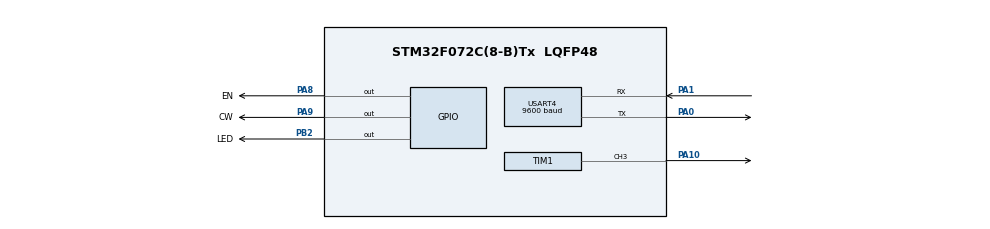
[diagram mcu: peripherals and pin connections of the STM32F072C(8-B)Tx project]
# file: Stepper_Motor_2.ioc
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Mcu.Family=STM32F0
PA9.GPIO_Label=CW
USART4.Parity=PARITY_EVEN
ProjectManager.StackSize=0x400
PA8.GPIO_Label=EN
TIM1.Prescaler=80-1
ProjectManager.TargetToolchain=STM32CubeIDE
NVIC.USART3_4_IRQn=true\:0\:0\:false\:false\:true\:true\:true
PA9.Signal=GPIO_Output
PA1.Signal=USART4_RX
PF0-OSC_IN.Mode=HSE-External-Oscillator
USART4.VirtualMode-Asynchronous=VM_ASYNC
PB2.Signal=GPIO_Output
board=custom
USART4.BaudRate=9600
PA1.Mode=Asynchronous
PA0.Mode=Asynchronous
PA8.Signal=GPIO_Output
Mcu.Name=STM32F072C(8-B)Tx
PA0.Signal=USART4_TX
Mcu.Package=LQFP48
PA10.Signal=S_TIM1_CH3
PB2.GPIO_Label=LED
ProjectManager.HeapSize=0x200
SH.S_TIM1_CH3.0=TIM1_CH3,PWM Generation3 CH3
TIM1.Period=1000-1
USART4.WordLength=WORDLENGTH_9B
PF0-OSC_IN.Signal=RCC_OSC_IN
TIM1.Channel-PWM\ Generation3\ CH3=TIM_CHANNEL_3
PF1-OSC_OUT.Mode=HSE-External-Oscillator
NVIC.TIM1_BRK_UP_TRG_COM_IRQn=true\:0\:0\:false\:false\:true\:true\:true
PF1-OSC_OUT.Signal=RCC_OSC_OUT

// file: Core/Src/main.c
/* USER CODE BEGIN Header */
/**
  ******************************************************************************
  * @file           : main.c
  * @brief          : Main program body
  ******************************************************************************
  * @attention
  *
  * <h2><center>&copy; Copyright (c) 2021 STMicroelectronics.
  * All rights reserved.</center></h2>
  *
  * This software component is licensed by ST under BSD 3-Clause license,
  * the "License"; You may not use this file except in compliance with the
  * License. You may obtain a copy of the License at:
  *                        opensource.org/licenses/BSD-3-Clause
  *
  ******************************************************************************
  */
/* USER CODE END Header */
#include "main.h"

TIM_HandleTypeDef htim1;

UART_HandleTypeDef huart4;

/* USER CODE BEGIN PV */
int pwm = 0;/*Переменная ШИМ, подаваемая в таймер*/
int i = 0;/*Переменная-счётчик*/
uint8_t RxData[2];/*Массив данных (2 элемент), которые будем считывать с ПК*/
/* USER CODE END PV */

void SystemClock_Config(void);
static void MX_GPIO_Init(void);
static void MX_TIM1_Init(void);
static void MX_USART4_UART_Init(void);

/* USER CODE BEGIN 0 */
void Stepper_motor(uint8_t Direction, uint8_t Steps)/*Функция управления шаговым двигателем. В функции 2 аргумента:
1 -- определяет направление вращения, 2 -- определяет количество шагов.*/
{
	HAL_GPIO_WritePin(GPIOA, EN_Pin, GPIO_PIN_RESET);/*Разрешаем работу двигателя*/
	switch (Direction) {/*Если переменная, определяющая направление вращения,*/
	case 1:/*равна 1, то*/
		HAL_GPIO_WritePin(GPIOA, CW_Pin, GPIO_PIN_SET);/*включаем пин, отвечающий за направление вращения.*/
		break;
	default:/*Если любое другое значение, то*/
		HAL_GPIO_WritePin(GPIOA, CW_Pin, GPIO_PIN_RESET);/*отключаем пин, отвечающий за направление вращения.*/
		break;
	}
	if (i < Steps)/*Если значение счётчика i меньше переменной, определяющей количество шагов,*/
	{
		++i;/*то прибавим к i единицу*/
		pwm = 500;/*и приравняем переменную pwm к 500.*/
	} else/*Иначе, если i будет равна переменной, определяющей количество шагов,*/
	{
		i = 0;/*приравниваем i к нулю,*/
		RxData[1]=0;/*Обнулим элемент массива, отвечающего за количество шагов,*/
		pwm = 0;/*приравниваем pwm к нулю и*/
		HAL_GPIO_WritePin(GPIOA, EN_Pin, GPIO_PIN_SET);/*запрещаем работу двигателя*/
	}
}

void HAL_TIM_PeriodElapsedCallback(TIM_HandleTypeDef *htim)/*CallBack, вызванный при окончании периода ШИМ*/
{
	if (htim->Instance == TIM1)/*Проверяем от какого таймера пришёл CallBack*/
	{
	  	Stepper_motor(RxData[0], RxData[1]);/*Передадим в функцию управления шаговым двигателем*/
		htim1.Instance->CCR3 = pwm;/*Запишем значение pwm в регистр CCR3 выбранного таймера*/
	}
}
/* USER CODE END 0 */

int main(void)
{

  /* MCU Configuration--------------------------------------------------------*/

  /* Reset of all peripherals, Initializes the Flash interface and the Systick. */
  HAL_Init();

  /* Configure the system clock */
  SystemClock_Config();

  /* Initialize all configured peripherals */
  MX_GPIO_Init();
  MX_TIM1_Init();
  MX_USART4_UART_Init();
  /* USER CODE BEGIN 2 */
  HAL_TIM_PWM_Start(&htim1, TIM_CHANNEL_3);/*Даём разрешение на работу ШИМ нашего таймера*/
  HAL_TIM_Base_Start_IT(&htim1);/*Даём разрешение на организацию прерываний*/
  /* USER CODE END 2 */

  /* Infinite loop */
  /* USER CODE BEGIN WHILE */
  while (1)
  {

	  if ((HAL_UART_Receive_IT (&huart4, RxData, sizeof(RxData))==HAL_OK))/*Если
	  	  	данные с компьютера на контроллер были успешно переданы, то*/
	  	  {
	  		  HAL_GPIO_TogglePin(LED_GPIO_Port, LED_Pin);/*Поменяем состояние светодиода*/
	  	  }
	  	  HAL_Delay(10);/*Организация временной задержки в 10 миллисекунд.*/

    /* USER CODE END WHILE */

  }
}

void SystemClock_Config(void)
{
  RCC_OscInitTypeDef RCC_OscInitStruct = {0};
  RCC_ClkInitTypeDef RCC_ClkInitStruct = {0};

  /** Initializes the RCC Oscillators according to the specified parameters
  * in the RCC_OscInitTypeDef structure.
  */
  RCC_OscInitStruct.OscillatorType = RCC_OSCILLATORTYPE_HSI;
  RCC_OscInitStruct.HSIState = RCC_HSI_ON;
  RCC_OscInitStruct.HSICalibrationValue = RCC_HSICALIBRATION_DEFAULT;
  RCC_OscInitStruct.PLL.PLLState = RCC_PLL_NONE;
  if (HAL_RCC_OscConfig(&RCC_OscInitStruct) != HAL_OK)
  {
    Error_Handler();
  }
  /** Initializes the CPU, AHB and APB buses clocks
  */
  RCC_ClkInitStruct.ClockType = RCC_CLOCKTYPE_HCLK|RCC_CLOCKTYPE_SYSCLK
                              |RCC_CLOCKTYPE_PCLK1;
  RCC_ClkInitStruct.SYSCLKSource = RCC_SYSCLKSOURCE_HSI;
  RCC_ClkInitStruct.AHBCLKDivider = RCC_SYSCLK_DIV1;
  RCC_ClkInitStruct.APB1CLKDivider = RCC_HCLK_DIV1;

  if (HAL_RCC_ClockConfig(&RCC_ClkInitStruct, FLASH_LATENCY_0) != HAL_OK)
  {
    Error_Handler();
  }
}

static void MX_TIM1_Init(void)
{

  TIM_MasterConfigTypeDef sMasterConfig = {0};
  TIM_OC_InitTypeDef sConfigOC = {0};
  TIM_BreakDeadTimeConfigTypeDef sBreakDeadTimeConfig = {0};

  htim1.Instance = TIM1;
  htim1.Init.Prescaler = 80-1;
  htim1.Init.CounterMode = TIM_COUNTERMODE_UP;
  htim1.Init.Period = 1000-1;
  htim1.Init.ClockDivision = TIM_CLOCKDIVISION_DIV1;
  htim1.Init.RepetitionCounter = 0;
  htim1.Init.AutoReloadPreload = TIM_AUTORELOAD_PRELOAD_DISABLE;
  if (HAL_TIM_PWM_Init(&htim1) != HAL_OK)
  {
    Error_Handler();
  }
  sMasterConfig.MasterOutputTrigger = TIM_TRGO_RESET;
  sMasterConfig.MasterSlaveMode = TIM_MASTERSLAVEMODE_DISABLE;
  if (HAL_TIMEx_MasterConfigSynchronization(&htim1, &sMasterConfig) != HAL_OK)
  {
    Error_Handler();
  }
  sConfigOC.OCMode = TIM_OCMODE_PWM1;
  sConfigOC.Pulse = 0;
  sConfigOC.OCPolarity = TIM_OCPOLARITY_HIGH;
  sConfigOC.OCNPolarity = TIM_OCNPOLARITY_HIGH;
  sConfigOC.OCFastMode = TIM_OCFAST_DISABLE;
  sConfigOC.OCIdleState = TIM_OCIDLESTATE_RESET;
  sConfigOC.OCNIdleState = TIM_OCNIDLESTATE_RESET;
  if (HAL_TIM_PWM_ConfigChannel(&htim1, &sConfigOC, TIM_CHANNEL_3) != HAL_OK)
  {
    Error_Handler();
  }
  sBreakDeadTimeConfig.OffStateRunMode = TIM_OSSR_DISABLE;
  sBreakDeadTimeConfig.OffStateIDLEMode = TIM_OSSI_DISABLE;
  sBreakDeadTimeConfig.LockLevel = TIM_LOCKLEVEL_OFF;
  sBreakDeadTimeConfig.DeadTime = 0;
  sBreakDeadTimeConfig.BreakState = TIM_BREAK_DISABLE;
  sBreakDeadTimeConfig.BreakPolarity = TIM_BREAKPOLARITY_HIGH;
  sBreakDeadTimeConfig.AutomaticOutput = TIM_AUTOMATICOUTPUT_DISABLE;
  if (HAL_TIMEx_ConfigBreakDeadTime(&htim1, &sBreakDeadTimeConfig) != HAL_OK)
  {
    Error_Handler();
  }
  HAL_TIM_MspPostInit(&htim1);

}

static void MX_USART4_UART_Init(void)
{

  huart4.Instance = USART4;
  huart4.Init.BaudRate = 9600;
  huart4.Init.WordLength = UART_WORDLENGTH_9B;
  huart4.Init.StopBits = UART_STOPBITS_1;
  huart4.Init.Parity = UART_PARITY_EVEN;
  huart4.Init.Mode = UART_MODE_TX_RX;
  huart4.Init.HwFlowCtl = UART_HWCONTROL_NONE;
  huart4.Init.OverSampling = UART_OVERSAMPLING_16;
  huart4.Init.OneBitSampling = UART_ONE_BIT_SAMPLE_DISABLE;
  huart4.AdvancedInit.AdvFeatureInit = UART_ADVFEATURE_NO_INIT;
  if (HAL_UART_Init(&huart4) != HAL_OK)
  {
    Error_Handler();
  }

}

static void MX_GPIO_Init(void)
{
  GPIO_InitTypeDef GPIO_InitStruct = {0};

  /* GPIO Ports Clock Enable */
  __HAL_RCC_GPIOF_CLK_ENABLE();
  __HAL_RCC_GPIOA_CLK_ENABLE();
  __HAL_RCC_GPIOB_CLK_ENABLE();

  /*Configure GPIO pin Output Level */
  HAL_GPIO_WritePin(LED_GPIO_Port, LED_Pin, GPIO_PIN_RESET);

  /*Configure GPIO pin Output Level */
  HAL_GPIO_WritePin(GPIOA, EN_Pin|CW_Pin, GPIO_PIN_RESET);

  /*Configure GPIO pin : LED_Pin */
  GPIO_InitStruct.Pin = LED_Pin;
  GPIO_InitStruct.Mode = GPIO_MODE_OUTPUT_PP;
  GPIO_InitStruct.Pull = GPIO_NOPULL;
  GPIO_InitStruct.Speed = GPIO_SPEED_FREQ_LOW;
  HAL_GPIO_Init(LED_GPIO_Port, &GPIO_InitStruct);

  /*Configure GPIO pins : EN_Pin CW_Pin */
  GPIO_InitStruct.Pin = EN_Pin|CW_Pin;
  GPIO_InitStruct.Mode = GPIO_MODE_OUTPUT_PP;
  GPIO_InitStruct.Pull = GPIO_NOPULL;
  GPIO_InitStruct.Speed = GPIO_SPEED_FREQ_LOW;
  HAL_GPIO_Init(GPIOA, &GPIO_InitStruct);

}

void Error_Handler(void)
{
  __disable_irq();
  while (1)
  {
  }
}

/************************ (C) COPYRIGHT STMicroelectronics *****END OF FILE****/
